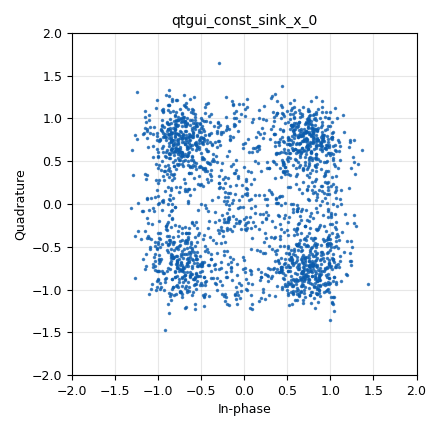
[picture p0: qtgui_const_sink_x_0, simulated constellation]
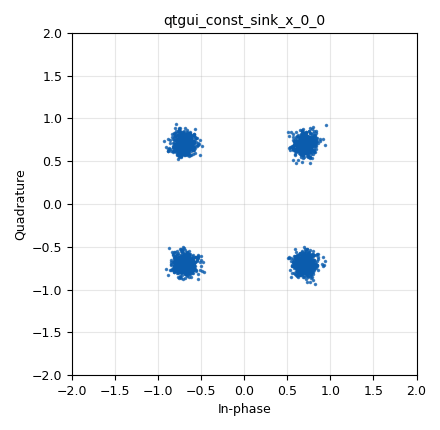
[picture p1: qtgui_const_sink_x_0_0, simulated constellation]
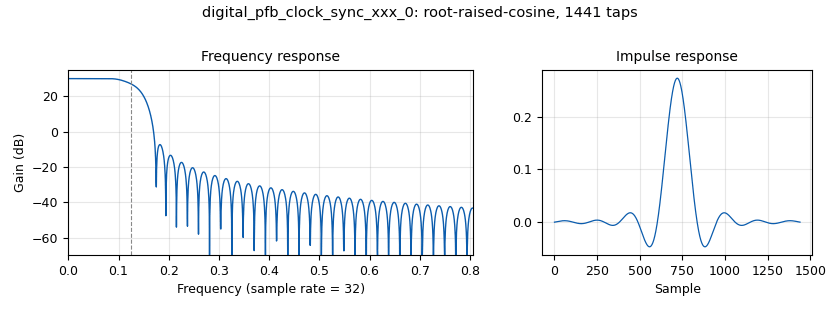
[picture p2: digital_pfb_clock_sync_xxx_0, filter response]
options:
  parameters:
    author: zehao
    generate_options: qt_gui
    id: QPSK_Recover
    output_language: python
    title: Not titled yet
  states: {}

blocks:
- name: arity
  id: variable
  parameters:
    value: '4'
  states: {}
- name: excess_bw
  id: variable
  parameters:
    value: '0.35'
  states: {}
- name: nfilts
  id: variable
  parameters:
    value: '32'
  states: {}
- name: qpsk
  id: variable_constellation_rect
  parameters:
    const_points: '[-1.007-1.007j, -1.007+1.007j, 1.007+1.007j, 1.007-1.007j]'
    imag_sect: '2'
    real_sect: '2'
    rot_sym: '4'
    sym_map: '[0, 1, 3, 2]'
    w_imag_sect: '1'
    w_real_sect: '1'
  states: {}
- name: samp_rate
  id: variable
  parameters:
    value: '32000'
  states: {}
- name: sps
  id: variable
  parameters:
    value: '4'
  states: {}
- name: analog_random_source_x_0
  id: analog_random_source_x
  parameters:
    max: '255'
    min: '0'
    num_samps: '10000'
    repeat: 'True'
    type: byte
  states: {}
- name: blocks_throttle_0
  id: blocks_throttle
  parameters:
    samples_per_second: samp_rate
    type: complex
  states: {}
- name: channels_channel_model_0
  id: channels_channel_model
  parameters:
    epsilon: '1.0005'
    freq_offset: '0'
    noise_voltage: '0.2'
    seed: '0'
    taps: '1'
  states: {}
- name: digital_constellation_modulator_0
  id: digital_constellation_modulator
  parameters:
    constellation: qpsk
    differential: 'True'
    excess_bw: '0.35'
    samples_per_symbol: '4'
  states: {}
- name: digital_pfb_clock_sync_xxx_0
  id: digital_pfb_clock_sync_xxx
  parameters:
    filter_size: '32'
    init_phase: '16'
    loop_bw: '0.0628'
    max_dev: '1.5'
    osps: '1'
    sps: '4.004'
    taps: firdes.root_raised_cosine(nfilts, nfilts, 1.0/float(sps), 0.35, 45*nfilts)
    type: ccf
  states: {}
- name: qtgui_const_sink_x_0
  id: qtgui_const_sink_x
  parameters:
    size: '2048'
    type: complex
  states: {}
- name: qtgui_const_sink_x_0_0
  id: qtgui_const_sink_x
  parameters:
    size: '2048'
    type: complex
  states: {}

connections:
- [analog_random_source_x_0, '0', digital_constellation_modulator_0, '0']
- [blocks_throttle_0, '0', channels_channel_model_0, '0']
- [channels_channel_model_0, '0', digital_pfb_clock_sync_xxx_0, '0']
- [channels_channel_model_0, '0', qtgui_const_sink_x_0, '0']
- [digital_constellation_modulator_0, '0', blocks_throttle_0, '0']
- [digital_pfb_clock_sync_xxx_0, '0', qtgui_const_sink_x_0_0, '0']

metadata:
  file_format: 1
